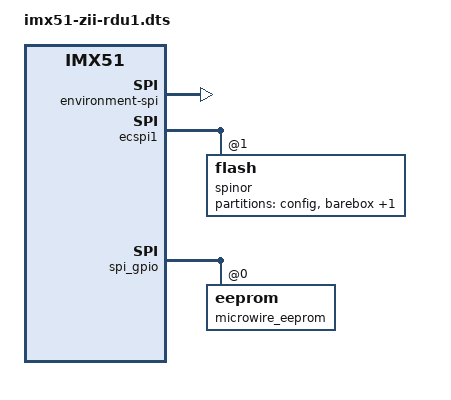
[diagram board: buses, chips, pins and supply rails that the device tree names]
/*
 * Copyright 2018 CogentEmbedded, Inc.
 * Copyright 2011 Freescale Semiconductor, Inc.
 * Copyright 2011 Linaro Ltd.
 *
 * The code contained herein is licensed under the GNU General Public
 * License. You may obtain a copy of the GNU General Public License
 * Version 2 or later at the following locations:
 *
 * http://www.opensource.org/licenses/gpl-license.html
 * http://www.gnu.org/copyleft/gpl.html
 */

#include <arm/imx51-zii-rdu1.dts>

/ {
	compatible = "zii,imx51-rdu1", "fsl,imx51-babbage-power", "fsl,imx51";

	chosen {
		stdout-path = &uart1;

		environment-spi {
			compatible = "barebox,environment";
			device-path = &spinor, "partname:barebox-environment";
		};
	};

	aliases {
		/*
		 * NVMEM device corresponding to EEPROM attached to
                 * the switch shared DT node with it, so we use that
                 * fact to create a desirable naming
		 */
		switch-eeprom = &switch;
		microwire-eeprom = &microwire_eeprom;
	};
};

&ecspi1 {
	spinor: flash@1 {
		partition@0 {
			/*
			 * Do not change the size of this
			 * partition. RDU1's BBU code relies on
			 * "barebox" partition starting at 1024 byte
			 * mark to function properly
			 */
			label = "config";
			reg = <0x0 0x400>;
		};

		partition@400 {
			label = "barebox";
			reg = <0x400 0xdfc00>;
		};

		partition@e0000 {
			label = "barebox-environment";
			reg = <0xe0000 0x20000>;
		};
	};
};

&mdio_gpio {
	switch: switch@0 {};
};

&spi_gpio {
	microwire_eeprom: eeprom@0 {};
};

&uart3 {
	rave-sp {
		watchdog {
			nvmem-cells = <&boot_source>;
			nvmem-cell-names = "boot-source";
		};

		eeprom@a4 {
			nvmem-cells = <&shadow_config>;
			nvmem-cell-names = "shadow-config";

			boot_source: boot-source@83 {
				reg = <0x83 1>;
			};

			shadow_config: shadow-config@1000 {
				reg = <0x1000 0x400>;
			};
		};
	};
};

&iomuxc {
	pinctrl_usbh1: usbh1grp {

		/*
		 * Overwrite upstream USBH1,2 iomux settings to match
		 * the setting U-Boot would set these to. Remove this
		 * once this is fixed upstream.
		 */
		fsl,pins = <
			MX51_PAD_USBH1_STP__USBH1_STP		0x1e5
			MX51_PAD_USBH1_CLK__USBH1_CLK		0x1e5
			MX51_PAD_USBH1_DIR__USBH1_DIR		0x1e5
			MX51_PAD_USBH1_NXT__USBH1_NXT		0x1e5
			MX51_PAD_USBH1_DATA0__USBH1_DATA0	0x1e5
			MX51_PAD_USBH1_DATA1__USBH1_DATA1	0x1e5
			MX51_PAD_USBH1_DATA2__USBH1_DATA2	0x1e5
			MX51_PAD_USBH1_DATA3__USBH1_DATA3	0x1e5
			MX51_PAD_USBH1_DATA4__USBH1_DATA4	0x1e5
			MX51_PAD_USBH1_DATA5__USBH1_DATA5	0x1e5
			MX51_PAD_USBH1_DATA6__USBH1_DATA6	0x1e5
			MX51_PAD_USBH1_DATA7__USBH1_DATA7	0x1e5
		>;
	};

	pinctrl_usbh2: usbh2grp {
		fsl,pins = <
			MX51_PAD_EIM_A26__USBH2_STP		0x1e5
			MX51_PAD_EIM_A24__USBH2_CLK		0x1e5
			MX51_PAD_EIM_A25__USBH2_DIR		0x1e5
			MX51_PAD_EIM_A27__USBH2_NXT		0x1e5
			MX51_PAD_EIM_D16__USBH2_DATA0		0x1e5
			MX51_PAD_EIM_D17__USBH2_DATA1		0x1e5
			MX51_PAD_EIM_D18__USBH2_DATA2		0x1e5
			MX51_PAD_EIM_D19__USBH2_DATA3		0x1e5
			MX51_PAD_EIM_D20__USBH2_DATA4		0x1e5
			MX51_PAD_EIM_D21__USBH2_DATA5		0x1e5
			MX51_PAD_EIM_D22__USBH2_DATA6		0x1e5
			MX51_PAD_EIM_D23__USBH2_DATA7		0x1e5
		>;
	};
};
